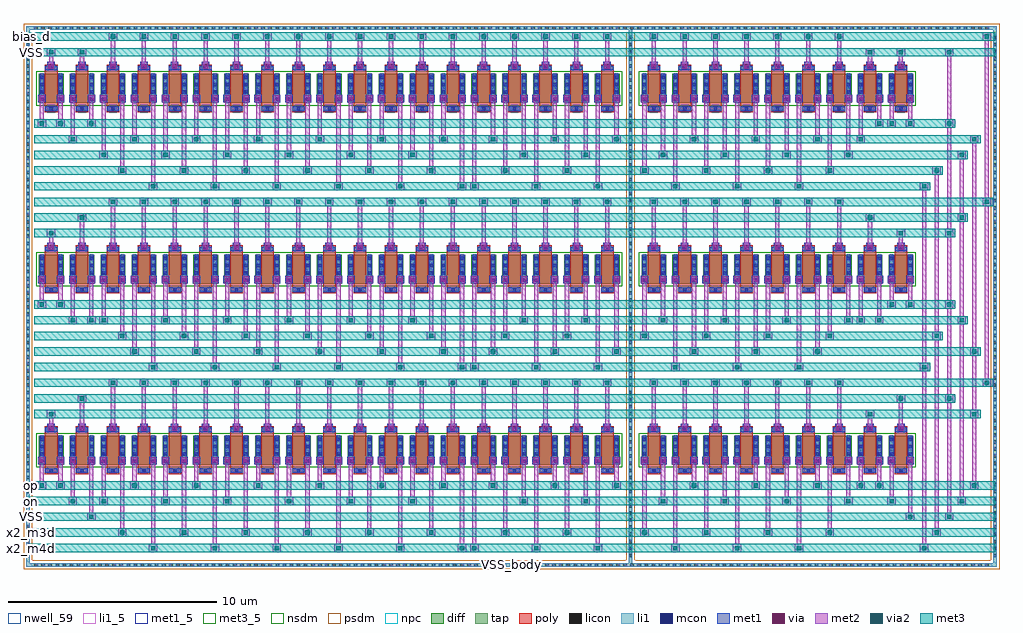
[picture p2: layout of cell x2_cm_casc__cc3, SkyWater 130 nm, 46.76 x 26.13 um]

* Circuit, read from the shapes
.subckt x2_cm_casc__cc3 VSS VSS_body bias_d on op x2_m3d x2_m4d
XM1 op op op VSS_body sky130_fd_pr__nfet_01v8 w=1.4 l=0.6 m=2
XM2 VSS VSS VSS VSS_body sky130_fd_pr__nfet_01v8 w=1.4 l=0.6 m=4
XM3 VSS VSS on VSS_body sky130_fd_pr__nfet_01v8 w=1.4 l=0.6 m=2
XM4 on on on VSS_body sky130_fd_pr__nfet_01v8 w=1.4 l=0.6 m=2
XM5 VSS VSS op VSS_body sky130_fd_pr__nfet_01v8 w=1.4 l=0.6 m=2
XM6 x2_m3d bias_d on VSS_body sky130_fd_pr__nfet_01v8 w=1.4 l=0.6 m=36
XM7 x2_m4d bias_d op VSS_body sky130_fd_pr__nfet_01v8 w=1.4 l=0.6 m=36
.ends

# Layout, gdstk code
from math import pi, radians
import gdstk
lib = gdstk.Library(unit=1e-6, precision=1e-09)
def R(c, l, rs):  # rectangles x0, y0, x1, y1
    for r in rs: c.add(gdstk.rectangle(r[:2], r[2:], *l))
def A(c, l, x, y, w, h, nx, ny, dx, dy):  # array of equal rectangles
    R(c, l, [(x+i*dx, y+j*dy, x+i*dx+w, y+j*dy+h) for i in range(nx) for j in range(ny)])
nwell_59 = (64, 59)
diff = (65, 20)
tap = (65, 44)
poly = (66, 20)
licon = (66, 44)
li1_5 = (67, 5)
li1 = (67, 20)
mcon = (67, 44)
met1_5 = (68, 5)
met1 = (68, 20)
via = (68, 44)
met2 = (69, 20)
via2 = (69, 44)
met3_5 = (70, 5)
met3 = (70, 20)
nsdm = (93, 44)
psdm = (94, 20)
npc = (95, 20)

sky130_fd_pr__nfet_01v8_ = lib.new_cell('sky130_fd_pr__nfet_01v8_KCM6UP')
R(sky130_fd_pr__nfet_01v8_, diff, [(-0.59,-0.7,0.59,0.7)])
R(sky130_fd_pr__nfet_01v8_, poly, [(-0.3,-1.14,0.3,1.14)])
A(sky130_fd_pr__nfet_01v8_, licon, -0.53, -0.595, 0.17, 0.17, 1, 4, 0, 0.34)
A(sky130_fd_pr__nfet_01v8_, licon, 0.36, -0.595, 0.17, 0.17, 1, 4, 0, 0.34)
R(sky130_fd_pr__nfet_01v8_, licon, [(-0.085,-1.06,0.085,-0.89), (-0.085,0.89,0.085,1.06)])
R(sky130_fd_pr__nfet_01v8_, li1, [(-0.3,-1.06,0.3,-0.89), (-0.53,-0.72,-0.36,0.72), (0.36,-0.72,0.53,0.72), (-0.3,0.89,0.3,1.06)])
A(sky130_fd_pr__nfet_01v8_, mcon, -0.53, -0.625, 0.17, 0.17, 1, 4, 0, 0.36)
A(sky130_fd_pr__nfet_01v8_, mcon, 0.36, -0.625, 0.17, 0.17, 1, 4, 0, 0.36)
R(sky130_fd_pr__nfet_01v8_, mcon, [(-0.085,-1.06,0.085,-0.89), (-0.085,0.89,0.085,1.06)])
R(sky130_fd_pr__nfet_01v8_, met1, [(-0.28,-1.09,0.28,-0.86), (-0.56,-0.7,-0.33,0.7), (0.33,-0.7,0.56,0.7), (-0.28,0.86,0.28,1.09)])
R(sky130_fd_pr__nfet_01v8_, nsdm, [(-0.715,-0.825,0.715,0.825)])
R(sky130_fd_pr__nfet_01v8_, npc, [(-0.185,-1.16,0.185,-0.79), (-0.185,0.79,0.185,1.16)])
sky130_fd_pr__nfet_01v8_.add(gdstk.Label('D', (-0.445,0), layer=67, texttype=5))
sky130_fd_pr__nfet_01v8_.add(gdstk.Label('S', (0.445,0), layer=67, texttype=5))
sky130_fd_pr__nfet_01v8_.add(gdstk.Label('G', (0,0.975), layer=67, texttype=5))

nfet_01v8_w1p4_l0p6_m2__ = lib.new_cell('nfet_01v8_W1p4_L0p6_m2__nf1_gboth_sdfull_ng')
R(nfet_01v8_w1p4_l0p6_m2__, nwell_59, [(0.05,1.09,0.15,1.19)])
R(nfet_01v8_w1p4_l0p6_m2__, met1_5, [(0.03,1.14,0.26,1.34), (0.92,1.14,1.15,1.34), (0.31,2,0.87,2.23)])
R(nfet_01v8_w1p4_l0p6_m2__, met1, [(0.03,1.14,0.26,1.34), (0.92,1.14,1.15,1.34), (0.31,2,0.87,2.23)])
nfet_01v8_w1p4_l0p6_m2__.add(gdstk.Reference(sky130_fd_pr__nfet_01v8_, (0.59,1.14)))
nfet_01v8_w1p4_l0p6_m2__.add(gdstk.Label('D', (0.145,1.24), layer=68, texttype=5))
nfet_01v8_w1p4_l0p6_m2__.add(gdstk.Label('S', (1.035,1.24), layer=68, texttype=5))
nfet_01v8_w1p4_l0p6_m2__.add(gdstk.Label('G', (0.59,2.115), layer=68, texttype=5))
nfet_01v8_w1p4_l0p6_m2__.add(gdstk.Label('B', (0.1,1.14), layer=64, texttype=59))

nfet_01v8_w1p4_l0p6_m36_ = lib.new_cell('nfet_01v8_W1p4_L0p6_m36__nf1_gboth_sdfull_ng')
R(nfet_01v8_w1p4_l0p6_m36_, nwell_59, [(0.05,1.09,0.15,1.19)])
R(nfet_01v8_w1p4_l0p6_m36_, met1_5, [(0.03,1.14,0.26,1.34), (0.92,1.14,1.15,1.34), (0.31,2,0.87,2.23)])
R(nfet_01v8_w1p4_l0p6_m36_, met1, [(0.03,1.14,0.26,1.34), (0.92,1.14,1.15,1.34), (0.31,2,0.87,2.23)])
nfet_01v8_w1p4_l0p6_m36_.add(gdstk.Reference(sky130_fd_pr__nfet_01v8_, (0.59,1.14)))
nfet_01v8_w1p4_l0p6_m36_.add(gdstk.Label('D', (0.145,1.24), layer=68, texttype=5))
nfet_01v8_w1p4_l0p6_m36_.add(gdstk.Label('S', (1.035,1.24), layer=68, texttype=5))
nfet_01v8_w1p4_l0p6_m36_.add(gdstk.Label('G', (0.59,2.115), layer=68, texttype=5))
nfet_01v8_w1p4_l0p6_m36_.add(gdstk.Label('B', (0.1,1.14), layer=64, texttype=59))

x2_cm_casc__cc3 = lib.new_cell('x2_cm_casc__cc3')
R(x2_cm_casc__cc3, tap, [(-0.485,-4.435,46.025,-4.265), (-0.485,-4.265,-0.315,21.275), (28.385,-4.265,28.555,21.275), (45.855,-4.265,46.025,21.275), (-0.485,21.275,46.025,21.445)])
A(x2_cm_casc__cc3, licon, -0.095, -4.435, 0.17, 0.17, 135, 2, 0.34, 25.71)
A(x2_cm_casc__cc3, licon, -0.485, -3.99, 0.17, 0.17, 1, 74, 0, 0.34)
A(x2_cm_casc__cc3, licon, 28.385, -3.99, 0.17, 0.17, 1, 74, 0, 0.34)
A(x2_cm_casc__cc3, licon, 45.855, -3.99, 0.17, 0.17, 1, 74, 0, 0.34)
R(x2_cm_casc__cc3, li1_5, [(22.72,-4.4,22.82,-4.3)])
R(x2_cm_casc__cc3, li1, [(-0.485,-4.435,46.025,-4.265), (-0.485,-4.265,-0.315,21.275), (28.385,-4.265,28.555,21.275), (45.855,-4.265,46.025,21.275), (-0.485,21.275,46.025,21.445)])
A(x2_cm_casc__cc3, met1, 0.09, 0.46, 0.36, 0.36, 1, 3, 0, 8.67)
A(x2_cm_casc__cc3, met1, 0.98, 0.46, 0.36, 0.36, 1, 3, 0, 8.67)
A(x2_cm_casc__cc3, met1, 1.57, 0.46, 0.36, 0.36, 1, 3, 0, 8.67)
A(x2_cm_casc__cc3, met1, 2.46, 0.46, 0.36, 0.36, 1, 3, 0, 8.67)
A(x2_cm_casc__cc3, met1, 3.05, 0.46, 0.36, 0.36, 1, 3, 0, 8.67)
A(x2_cm_casc__cc3, met1, 3.94, 0.46, 0.36, 0.36, 1, 3, 0, 8.67)
A(x2_cm_casc__cc3, met1, 4.53, 0.46, 0.36, 0.36, 1, 3, 0, 8.67)
A(x2_cm_casc__cc3, met1, 5.42, 0.46, 0.36, 0.36, 1, 3, 0, 8.67)
A(x2_cm_casc__cc3, met1, 6.01, 0.46, 0.36, 0.36, 1, 3, 0, 8.67)
A(x2_cm_casc__cc3, met1, 6.9, 0.46, 0.36, 0.36, 1, 3, 0, 8.67)
A(x2_cm_casc__cc3, met1, 7.49, 0.46, 0.36, 0.36, 1, 3, 0, 8.67)
A(x2_cm_casc__cc3, met1, 8.38, 0.46, 0.36, 0.36, 1, 3, 0, 8.67)
A(x2_cm_casc__cc3, met1, 8.97, 0.46, 0.36, 0.36, 1, 3, 0, 8.67)
A(x2_cm_casc__cc3, met1, 9.86, 0.46, 0.36, 0.36, 1, 3, 0, 8.67)
A(x2_cm_casc__cc3, met1, 10.45, 0.46, 0.36, 0.36, 1, 3, 0, 8.67)
A(x2_cm_casc__cc3, met1, 11.34, 0.46, 0.36, 0.36, 1, 3, 0, 8.67)
A(x2_cm_casc__cc3, met1, 11.93, 0.46, 0.36, 0.36, 1, 3, 0, 8.67)
A(x2_cm_casc__cc3, met1, 12.82, 0.46, 0.36, 0.36, 1, 3, 0, 8.67)
A(x2_cm_casc__cc3, met1, 13.41, 0.46, 0.36, 0.36, 1, 3, 0, 8.67)
A(x2_cm_casc__cc3, met1, 14.3, 0.46, 0.36, 0.36, 1, 3, 0, 8.67)
A(x2_cm_casc__cc3, met1, 14.89, 0.46, 0.36, 0.36, 1, 3, 0, 8.67)
A(x2_cm_casc__cc3, met1, 15.78, 0.46, 0.36, 0.36, 1, 3, 0, 8.67)
A(x2_cm_casc__cc3, met1, 16.37, 0.46, 0.36, 0.36, 1, 3, 0, 8.67)
A(x2_cm_casc__cc3, met1, 17.26, 0.46, 0.36, 0.36, 1, 3, 0, 8.67)
A(x2_cm_casc__cc3, met1, 17.85, 0.46, 0.36, 0.36, 1, 3, 0, 8.67)
A(x2_cm_casc__cc3, met1, 18.74, 0.46, 0.36, 0.36, 1, 3, 0, 8.67)
A(x2_cm_casc__cc3, met1, 19.33, 0.46, 0.36, 0.36, 1, 3, 0, 8.67)
A(x2_cm_casc__cc3, met1, 20.22, 0.46, 0.36, 0.36, 1, 3, 0, 8.67)
A(x2_cm_casc__cc3, met1, 20.81, 0.46, 0.36, 0.36, 1, 3, 0, 8.67)
A(x2_cm_casc__cc3, met1, 21.7, 0.46, 0.36, 0.36, 1, 3, 0, 8.67)
A(x2_cm_casc__cc3, met1, 22.29, 0.46, 0.36, 0.36, 1, 3, 0, 8.67)
A(x2_cm_casc__cc3, met1, 23.18, 0.46, 0.36, 0.36, 1, 3, 0, 8.67)
A(x2_cm_casc__cc3, met1, 23.77, 0.46, 0.36, 0.36, 1, 3, 0, 8.67)
A(x2_cm_casc__cc3, met1, 24.66, 0.46, 0.36, 0.36, 1, 3, 0, 8.67)
A(x2_cm_casc__cc3, met1, 25.25, 0.46, 0.36, 0.36, 1, 3, 0, 8.67)
A(x2_cm_casc__cc3, met1, 26.14, 0.46, 0.36, 0.36, 1, 3, 0, 8.67)
A(x2_cm_casc__cc3, met1, 26.73, 0.46, 0.36, 0.36, 1, 3, 0, 8.67)
A(x2_cm_casc__cc3, met1, 27.62, 0.46, 0.36, 0.36, 1, 3, 0, 8.67)
A(x2_cm_casc__cc3, met1, 28.96, 0.46, 0.36, 0.36, 1, 3, 0, 8.67)
A(x2_cm_casc__cc3, met1, 29.85, 0.46, 0.36, 0.36, 1, 3, 0, 8.67)
A(x2_cm_casc__cc3, met1, 30.44, 0.46, 0.36, 0.36, 1, 3, 0, 8.67)
A(x2_cm_casc__cc3, met1, 31.33, 0.46, 0.36, 0.36, 1, 3, 0, 8.67)
A(x2_cm_casc__cc3, met1, 31.92, 0.46, 0.36, 0.36, 1, 3, 0, 8.67)
A(x2_cm_casc__cc3, met1, 32.81, 0.46, 0.36, 0.36, 1, 3, 0, 8.67)
A(x2_cm_casc__cc3, met1, 33.4, 0.46, 0.36, 0.36, 1, 3, 0, 8.67)
A(x2_cm_casc__cc3, met1, 34.29, 0.46, 0.36, 0.36, 1, 3, 0, 8.67)
A(x2_cm_casc__cc3, met1, 34.88, 0.46, 0.36, 0.36, 1, 3, 0, 8.67)
A(x2_cm_casc__cc3, met1, 35.77, 0.46, 0.36, 0.36, 1, 3, 0, 8.67)
A(x2_cm_casc__cc3, met1, 36.36, 0.46, 0.36, 0.36, 1, 3, 0, 8.67)
A(x2_cm_casc__cc3, met1, 37.25, 0.46, 0.36, 0.36, 1, 3, 0, 8.67)
A(x2_cm_casc__cc3, met1, 37.84, 0.46, 0.36, 0.36, 1, 3, 0, 8.67)
A(x2_cm_casc__cc3, met1, 38.73, 0.46, 0.36, 0.36, 1, 3, 0, 8.67)
A(x2_cm_casc__cc3, met1, 39.32, 0.46, 0.36, 0.36, 1, 3, 0, 8.67)
A(x2_cm_casc__cc3, met1, 40.21, 0.46, 0.36, 0.36, 1, 3, 0, 8.67)
A(x2_cm_casc__cc3, met1, 40.8, 0.46, 0.36, 0.36, 1, 3, 0, 8.67)
A(x2_cm_casc__cc3, met1, 41.69, 0.46, 0.36, 0.36, 1, 3, 0, 8.67)
A(x2_cm_casc__cc3, met1, 0.535, 2.05, 0.36, 0.36, 19, 3, 1.48, 8.67)
A(x2_cm_casc__cc3, met1, 29.405, 2.05, 0.36, 0.36, 9, 3, 1.48, 8.67)
A(x2_cm_casc__cc3, via, 0.195, 0.565, 0.15, 0.15, 1, 3, 0, 8.67)
A(x2_cm_casc__cc3, via, 1.085, 0.565, 0.15, 0.15, 1, 3, 0, 8.67)
A(x2_cm_casc__cc3, via, 1.675, 0.565, 0.15, 0.15, 1, 3, 0, 8.67)
A(x2_cm_casc__cc3, via, 2.565, 0.565, 0.15, 0.15, 1, 3, 0, 8.67)
A(x2_cm_casc__cc3, via, 3.155, 0.565, 0.15, 0.15, 1, 3, 0, 8.67)
A(x2_cm_casc__cc3, via, 4.045, 0.565, 0.15, 0.15, 1, 3, 0, 8.67)
A(x2_cm_casc__cc3, via, 4.635, 0.565, 0.15, 0.15, 1, 3, 0, 8.67)
A(x2_cm_casc__cc3, via, 5.525, 0.565, 0.15, 0.15, 1, 3, 0, 8.67)
A(x2_cm_casc__cc3, via, 6.115, 0.565, 0.15, 0.15, 1, 3, 0, 8.67)
A(x2_cm_casc__cc3, via, 7.005, 0.565, 0.15, 0.15, 1, 3, 0, 8.67)
A(x2_cm_casc__cc3, via, 7.595, 0.565, 0.15, 0.15, 1, 3, 0, 8.67)
A(x2_cm_casc__cc3, via, 8.485, 0.565, 0.15, 0.15, 1, 3, 0, 8.67)
A(x2_cm_casc__cc3, via, 9.075, 0.565, 0.15, 0.15, 1, 3, 0, 8.67)
A(x2_cm_casc__cc3, via, 9.965, 0.565, 0.15, 0.15, 1, 3, 0, 8.67)
A(x2_cm_casc__cc3, via, 10.555, 0.565, 0.15, 0.15, 1, 3, 0, 8.67)
A(x2_cm_casc__cc3, via, 11.445, 0.565, 0.15, 0.15, 1, 3, 0, 8.67)
A(x2_cm_casc__cc3, via, 12.035, 0.565, 0.15, 0.15, 1, 3, 0, 8.67)
A(x2_cm_casc__cc3, via, 12.925, 0.565, 0.15, 0.15, 1, 3, 0, 8.67)
A(x2_cm_casc__cc3, via, 13.515, 0.565, 0.15, 0.15, 1, 3, 0, 8.67)
A(x2_cm_casc__cc3, via, 14.405, 0.565, 0.15, 0.15, 1, 3, 0, 8.67)
A(x2_cm_casc__cc3, via, 14.995, 0.565, 0.15, 0.15, 1, 3, 0, 8.67)
A(x2_cm_casc__cc3, via, 15.885, 0.565, 0.15, 0.15, 1, 3, 0, 8.67)
A(x2_cm_casc__cc3, via, 16.475, 0.565, 0.15, 0.15, 1, 3, 0, 8.67)
A(x2_cm_casc__cc3, via, 17.365, 0.565, 0.15, 0.15, 1, 3, 0, 8.67)
A(x2_cm_casc__cc3, via, 17.955, 0.565, 0.15, 0.15, 1, 3, 0, 8.67)
A(x2_cm_casc__cc3, via, 18.845, 0.565, 0.15, 0.15, 1, 3, 0, 8.67)
A(x2_cm_casc__cc3, via, 19.435, 0.565, 0.15, 0.15, 1, 3, 0, 8.67)
A(x2_cm_casc__cc3, via, 20.325, 0.565, 0.15, 0.15, 1, 3, 0, 8.67)
A(x2_cm_casc__cc3, via, 20.915, 0.565, 0.15, 0.15, 1, 3, 0, 8.67)
A(x2_cm_casc__cc3, via, 21.805, 0.565, 0.15, 0.15, 1, 3, 0, 8.67)
A(x2_cm_casc__cc3, via, 22.395, 0.565, 0.15, 0.15, 1, 3, 0, 8.67)
A(x2_cm_casc__cc3, via, 23.285, 0.565, 0.15, 0.15, 1, 3, 0, 8.67)
A(x2_cm_casc__cc3, via, 23.875, 0.565, 0.15, 0.15, 1, 3, 0, 8.67)
A(x2_cm_casc__cc3, via, 24.765, 0.565, 0.15, 0.15, 1, 3, 0, 8.67)
A(x2_cm_casc__cc3, via, 25.355, 0.565, 0.15, 0.15, 1, 3, 0, 8.67)
A(x2_cm_casc__cc3, via, 26.245, 0.565, 0.15, 0.15, 1, 3, 0, 8.67)
A(x2_cm_casc__cc3, via, 26.835, 0.565, 0.15, 0.15, 1, 3, 0, 8.67)
A(x2_cm_casc__cc3, via, 27.725, 0.565, 0.15, 0.15, 1, 3, 0, 8.67)
A(x2_cm_casc__cc3, via, 29.065, 0.565, 0.15, 0.15, 1, 3, 0, 8.67)
A(x2_cm_casc__cc3, via, 29.955, 0.565, 0.15, 0.15, 1, 3, 0, 8.67)
A(x2_cm_casc__cc3, via, 30.545, 0.565, 0.15, 0.15, 1, 3, 0, 8.67)
A(x2_cm_casc__cc3, via, 31.435, 0.565, 0.15, 0.15, 1, 3, 0, 8.67)
A(x2_cm_casc__cc3, via, 32.025, 0.565, 0.15, 0.15, 1, 3, 0, 8.67)
A(x2_cm_casc__cc3, via, 32.915, 0.565, 0.15, 0.15, 1, 3, 0, 8.67)
A(x2_cm_casc__cc3, via, 33.505, 0.565, 0.15, 0.15, 1, 3, 0, 8.67)
A(x2_cm_casc__cc3, via, 34.395, 0.565, 0.15, 0.15, 1, 3, 0, 8.67)
A(x2_cm_casc__cc3, via, 34.985, 0.565, 0.15, 0.15, 1, 3, 0, 8.67)
A(x2_cm_casc__cc3, via, 35.875, 0.565, 0.15, 0.15, 1, 3, 0, 8.67)
A(x2_cm_casc__cc3, via, 36.465, 0.565, 0.15, 0.15, 1, 3, 0, 8.67)
A(x2_cm_casc__cc3, via, 37.355, 0.565, 0.15, 0.15, 1, 3, 0, 8.67)
A(x2_cm_casc__cc3, via, 37.945, 0.565, 0.15, 0.15, 1, 3, 0, 8.67)
A(x2_cm_casc__cc3, via, 38.835, 0.565, 0.15, 0.15, 1, 3, 0, 8.67)
A(x2_cm_casc__cc3, via, 39.425, 0.565, 0.15, 0.15, 1, 3, 0, 8.67)
A(x2_cm_casc__cc3, via, 40.315, 0.565, 0.15, 0.15, 1, 3, 0, 8.67)
A(x2_cm_casc__cc3, via, 40.905, 0.565, 0.15, 0.15, 1, 3, 0, 8.67)
A(x2_cm_casc__cc3, via, 41.795, 0.565, 0.15, 0.15, 1, 3, 0, 8.67)
A(x2_cm_casc__cc3, via, 0.64, 2.155, 0.15, 0.15, 19, 3, 1.48, 8.67)
A(x2_cm_casc__cc3, via, 29.51, 2.155, 0.15, 0.15, 9, 3, 1.48, 8.67)
A(x2_cm_casc__cc3, met2, 5.4, -3.75, 0.4, 0.4, 6, 3, 2.96, 8.67)
A(x2_cm_casc__cc3, met2, 20.79, -3.75, 0.4, 0.4, 3, 3, 2.96, 8.67)
A(x2_cm_casc__cc3, met2, 30.42, -3.75, 0.4, 0.4, 3, 3, 2.96, 8.67)
A(x2_cm_casc__cc3, met2, 42.34, -3.75, 0.4, 0.4, 1, 3, 0, 8.67)
A(x2_cm_casc__cc3, met2, 5.5, -3.35, 0.2, 3.83, 6, 3, 2.96, 8.67)
A(x2_cm_casc__cc3, met2, 20.89, -3.35, 0.2, 3.83, 3, 3, 2.96, 8.67)
A(x2_cm_casc__cc3, met2, 30.52, -3.35, 0.2, 3.83, 3, 3, 2.96, 8.67)
A(x2_cm_casc__cc3, met2, 3.92, -3, 0.4, 0.4, 6, 2, 2.96, 9.42)
A(x2_cm_casc__cc3, met2, 28.94, -3, 0.4, 0.4, 4, 2, 2.96, 9.42)
A(x2_cm_casc__cc3, met2, 4.02, -2.6, 0.2, 3.08, 6, 2, 2.96, 17.34)
A(x2_cm_casc__cc3, met2, 29.04, -2.6, 0.2, 3.08, 4, 2, 2.96, 17.34)
A(x2_cm_casc__cc3, met2, 2.44, -2.25, 0.4, 0.4, 1, 3, 0, 9.42)
A(x2_cm_casc__cc3, met2, 3.03, -1.5, 0.4, 0.4, 6, 2, 2.96, 8.67)
A(x2_cm_casc__cc3, met2, 29.83, -1.5, 0.4, 0.4, 4, 2, 2.96, 8.67)
A(x2_cm_casc__cc3, met2, 3.13, -1.1, 0.2, 1.58, 6, 2, 2.96, 8.67)
A(x2_cm_casc__cc3, met2, 29.93, -1.1, 0.2, 1.58, 4, 2, 2.96, 8.67)
A(x2_cm_casc__cc3, met2, 0.07, -0.75, 0.4, 0.4, 1, 3, 0, 8.67)
A(x2_cm_casc__cc3, met2, 0.96, -0.75, 0.4, 0.4, 1, 3, 0, 8.67)
A(x2_cm_casc__cc3, met2, 4.51, -0.75, 0.4, 0.4, 6, 2, 2.96, 6.42)
A(x2_cm_casc__cc3, met2, 21.68, -0.75, 0.4, 0.4, 3, 2, 2.96, 6.42)
A(x2_cm_casc__cc3, met2, 31.31, -0.75, 0.4, 0.4, 3, 2, 2.96, 6.42)
A(x2_cm_casc__cc3, met2, 0.17, -0.35, 0.2, 0.83, 1, 3, 0, 8.67)
A(x2_cm_casc__cc3, met2, 1.06, -0.35, 0.2, 0.83, 1, 3, 0, 8.67)
A(x2_cm_casc__cc3, met2, 4.61, -0.35, 0.2, 0.83, 6, 1, 2.96, 0)
A(x2_cm_casc__cc3, met2, 21.78, -0.35, 0.2, 0.83, 3, 1, 2.96, 0)
A(x2_cm_casc__cc3, met2, 31.41, -0.35, 0.2, 0.83, 3, 1, 2.96, 0)
A(x2_cm_casc__cc3, met2, 0.14, 0.48, 0.26, 0.32, 1, 3, 0, 8.67)
A(x2_cm_casc__cc3, met2, 1.03, 0.48, 0.26, 0.32, 1, 3, 0, 8.67)
A(x2_cm_casc__cc3, met2, 1.62, 0.48, 0.26, 0.32, 1, 3, 0, 8.67)
A(x2_cm_casc__cc3, met2, 2.51, 0.48, 0.26, 0.32, 1, 3, 0, 8.67)
A(x2_cm_casc__cc3, met2, 3.1, 0.48, 0.26, 0.32, 1, 3, 0, 8.67)
A(x2_cm_casc__cc3, met2, 3.99, 0.48, 0.26, 0.32, 1, 3, 0, 8.67)
A(x2_cm_casc__cc3, met2, 4.58, 0.48, 0.26, 0.32, 1, 3, 0, 8.67)
A(x2_cm_casc__cc3, met2, 5.47, 0.48, 0.26, 0.32, 1, 3, 0, 8.67)
A(x2_cm_casc__cc3, met2, 6.06, 0.48, 0.26, 0.32, 1, 3, 0, 8.67)
A(x2_cm_casc__cc3, met2, 6.95, 0.48, 0.26, 0.32, 1, 3, 0, 8.67)
A(x2_cm_casc__cc3, met2, 7.54, 0.48, 0.26, 0.32, 1, 3, 0, 8.67)
A(x2_cm_casc__cc3, met2, 8.43, 0.48, 0.26, 0.32, 1, 3, 0, 8.67)
A(x2_cm_casc__cc3, met2, 9.02, 0.48, 0.26, 0.32, 1, 3, 0, 8.67)
A(x2_cm_casc__cc3, met2, 9.91, 0.48, 0.26, 0.32, 1, 3, 0, 8.67)
A(x2_cm_casc__cc3, met2, 10.5, 0.48, 0.26, 0.32, 1, 3, 0, 8.67)
A(x2_cm_casc__cc3, met2, 11.39, 0.48, 0.26, 0.32, 1, 3, 0, 8.67)
A(x2_cm_casc__cc3, met2, 11.98, 0.48, 0.26, 0.32, 1, 3, 0, 8.67)
A(x2_cm_casc__cc3, met2, 12.87, 0.48, 0.26, 0.32, 1, 3, 0, 8.67)
A(x2_cm_casc__cc3, met2, 13.46, 0.48, 0.26, 0.32, 1, 3, 0, 8.67)
A(x2_cm_casc__cc3, met2, 14.35, 0.48, 0.26, 0.32, 1, 3, 0, 8.67)
A(x2_cm_casc__cc3, met2, 14.94, 0.48, 0.26, 0.32, 1, 3, 0, 8.67)
A(x2_cm_casc__cc3, met2, 15.83, 0.48, 0.26, 0.32, 1, 3, 0, 8.67)
A(x2_cm_casc__cc3, met2, 16.42, 0.48, 0.26, 0.32, 1, 3, 0, 8.67)
A(x2_cm_casc__cc3, met2, 17.31, 0.48, 0.26, 0.32, 1, 3, 0, 8.67)
A(x2_cm_casc__cc3, met2, 17.9, 0.48, 0.26, 0.32, 1, 3, 0, 8.67)
A(x2_cm_casc__cc3, met2, 18.79, 0.48, 0.26, 0.32, 1, 3, 0, 8.67)
A(x2_cm_casc__cc3, met2, 19.38, 0.48, 0.26, 0.32, 1, 3, 0, 8.67)
A(x2_cm_casc__cc3, met2, 20.27, 0.48, 0.26, 0.32, 1, 3, 0, 8.67)
A(x2_cm_casc__cc3, met2, 20.86, 0.48, 0.26, 0.32, 1, 3, 0, 8.67)
A(x2_cm_casc__cc3, met2, 21.75, 0.48, 0.26, 0.32, 1, 3, 0, 8.67)
A(x2_cm_casc__cc3, met2, 22.34, 0.48, 0.26, 0.32, 1, 3, 0, 8.67)
A(x2_cm_casc__cc3, met2, 23.23, 0.48, 0.26, 0.32, 1, 3, 0, 8.67)
A(x2_cm_casc__cc3, met2, 23.82, 0.48, 0.26, 0.32, 1, 3, 0, 8.67)
A(x2_cm_casc__cc3, met2, 24.71, 0.48, 0.26, 0.32, 1, 3, 0, 8.67)
A(x2_cm_casc__cc3, met2, 25.3, 0.48, 0.26, 0.32, 1, 3, 0, 8.67)
A(x2_cm_casc__cc3, met2, 26.19, 0.48, 0.26, 0.32, 1, 3, 0, 8.67)
A(x2_cm_casc__cc3, met2, 26.78, 0.48, 0.26, 0.32, 1, 3, 0, 8.67)
A(x2_cm_casc__cc3, met2, 27.67, 0.48, 0.26, 0.32, 1, 3, 0, 8.67)
A(x2_cm_casc__cc3, met2, 29.01, 0.48, 0.26, 0.32, 1, 3, 0, 8.67)
A(x2_cm_casc__cc3, met2, 29.9, 0.48, 0.26, 0.32, 1, 3, 0, 8.67)
A(x2_cm_casc__cc3, met2, 30.49, 0.48, 0.26, 0.32, 1, 3, 0, 8.67)
A(x2_cm_casc__cc3, met2, 31.38, 0.48, 0.26, 0.32, 1, 3, 0, 8.67)
A(x2_cm_casc__cc3, met2, 31.97, 0.48, 0.26, 0.32, 1, 3, 0, 8.67)
A(x2_cm_casc__cc3, met2, 32.86, 0.48, 0.26, 0.32, 1, 3, 0, 8.67)
A(x2_cm_casc__cc3, met2, 33.45, 0.48, 0.26, 0.32, 1, 3, 0, 8.67)
A(x2_cm_casc__cc3, met2, 34.34, 0.48, 0.26, 0.32, 1, 3, 0, 8.67)
A(x2_cm_casc__cc3, met2, 34.93, 0.48, 0.26, 0.32, 1, 3, 0, 8.67)
A(x2_cm_casc__cc3, met2, 35.82, 0.48, 0.26, 0.32, 1, 3, 0, 8.67)
A(x2_cm_casc__cc3, met2, 36.41, 0.48, 0.26, 0.32, 1, 3, 0, 8.67)
A(x2_cm_casc__cc3, met2, 37.3, 0.48, 0.26, 0.32, 1, 3, 0, 8.67)
A(x2_cm_casc__cc3, met2, 37.89, 0.48, 0.26, 0.32, 1, 3, 0, 8.67)
A(x2_cm_casc__cc3, met2, 38.78, 0.48, 0.26, 0.32, 1, 3, 0, 8.67)
A(x2_cm_casc__cc3, met2, 39.37, 0.48, 0.26, 0.32, 1, 3, 0, 8.67)
A(x2_cm_casc__cc3, met2, 40.26, 0.48, 0.26, 0.32, 1, 3, 0, 8.67)
A(x2_cm_casc__cc3, met2, 40.85, 0.48, 0.26, 0.32, 1, 3, 0, 8.67)
A(x2_cm_casc__cc3, met2, 41.74, 0.48, 0.26, 0.32, 1, 3, 0, 8.67)
A(x2_cm_casc__cc3, met2, 0.585, 2.07, 0.26, 0.32, 19, 3, 1.48, 8.67)
A(x2_cm_casc__cc3, met2, 29.455, 2.07, 0.26, 0.32, 9, 3, 1.48, 8.67)
A(x2_cm_casc__cc3, met2, 0.615, 2.39, 0.2, 0.28, 1, 3, 0, 8.67)
A(x2_cm_casc__cc3, met2, 3.575, 2.39, 0.2, 1.78, 17, 2, 1.48, 8.67)
A(x2_cm_casc__cc3, met2, 29.485, 2.39, 0.2, 1.78, 7, 2, 1.48, 8.67)
A(x2_cm_casc__cc3, met2, 0.515, 2.67, 0.4, 0.4, 1, 3, 0, 8.67)
A(x2_cm_casc__cc3, met2, 3.475, 4.17, 0.4, 0.4, 17, 2, 1.48, 8.67)
A(x2_cm_casc__cc3, met2, 29.385, 4.17, 0.4, 0.4, 7, 2, 1.48, 8.67)
A(x2_cm_casc__cc3, met2, 4.61, 6.07, 0.2, 3.08, 6, 1, 2.96, 0)
A(x2_cm_casc__cc3, met2, 21.78, 6.07, 0.2, 3.08, 3, 1, 2.96, 0)
A(x2_cm_casc__cc3, met2, 31.41, 6.07, 0.2, 3.08, 3, 1, 2.96, 0)
A(x2_cm_casc__cc3, met2, 4.02, 6.82, 0.2, 2.33, 6, 1, 2.96, 0)
A(x2_cm_casc__cc3, met2, 29.04, 6.82, 0.2, 2.33, 4, 1, 2.96, 0)
A(x2_cm_casc__cc3, met2, 3.92, 14.34, 0.4, 0.4, 6, 1, 2.96, 0)
A(x2_cm_casc__cc3, met2, 28.94, 14.34, 0.4, 0.4, 4, 1, 2.96, 0)
A(x2_cm_casc__cc3, met2, 3.03, 15.09, 0.4, 0.4, 6, 1, 2.96, 0)
A(x2_cm_casc__cc3, met2, 29.83, 15.09, 0.4, 0.4, 4, 1, 2.96, 0)
A(x2_cm_casc__cc3, met2, 3.13, 15.49, 0.2, 2.33, 6, 1, 2.96, 0)
A(x2_cm_casc__cc3, met2, 29.93, 15.49, 0.2, 2.33, 4, 1, 2.96, 0)
A(x2_cm_casc__cc3, met2, 1.55, 15.84, 0.4, 0.4, 7, 1, 2.96, 0)
A(x2_cm_casc__cc3, met2, 21.68, 15.84, 0.4, 0.4, 3, 1, 2.96, 0)
A(x2_cm_casc__cc3, met2, 31.31, 15.84, 0.4, 0.4, 3, 1, 2.96, 0)
A(x2_cm_casc__cc3, met2, 1.65, 16.24, 0.2, 1.58, 7, 1, 2.96, 0)
A(x2_cm_casc__cc3, met2, 21.78, 16.24, 0.2, 1.58, 3, 1, 2.96, 0)
A(x2_cm_casc__cc3, met2, 31.41, 16.24, 0.2, 1.58, 3, 1, 2.96, 0)
A(x2_cm_casc__cc3, met2, 3.575, 19.73, 0.2, 1.03, 17, 1, 1.48, 0)
A(x2_cm_casc__cc3, met2, 29.485, 19.73, 0.2, 1.03, 7, 1, 1.48, 0)
A(x2_cm_casc__cc3, met2, 3.475, 20.76, 0.4, 0.4, 17, 1, 1.48, 0)
A(x2_cm_casc__cc3, met2, 29.385, 20.76, 0.4, 0.4, 7, 1, 1.48, 0)
R(x2_cm_casc__cc3, met2, [(42.44,-3.35,42.64,4.92), (22.27,-3,22.67,-2.6), (25.23,-3,25.63,-2.6), (42.94,-3,43.34,-2.6), (22.37,-2.6,22.57,0.48), (25.33,-2.6,25.53,0.48), (43.04,-2.6,43.24,6.42), (41.67,-2.25,42.07,-1.85), (43.54,-2.25,43.94,-1.85), (2.54,-1.85,2.74,0.48), (41.77,-1.85,41.97,0.48), (43.64,-1.85,43.84,3.42), (1.55,-1.5,1.95,-1.1), (23.16,-1.5,23.56,-1.1), (26.12,-1.5,26.52,-1.1), (40.78,-1.5,41.18,-1.1), (44.14,-1.5,44.54,-1.1), (1.65,-1.1,1.85,0.48), (23.26,-1.1,23.46,0.48), (26.22,-1.1,26.42,0.48), (40.88,-1.1,41.08,0.48), (44.24,-1.1,44.44,7.17), (39.3,-0.75,39.7,-0.35), (40.19,-0.75,40.59,-0.35), (44.74,-0.75,45.14,-0.35), (39.4,-0.35,39.6,0.48), (40.29,-0.35,40.49,0.48), (44.84,-0.35,45.04,2.67), (2.095,2.39,2.295,3.42), (39.845,2.39,40.045,2.67), (41.325,2.39,41.525,3.42), (39.745,2.67,40.145,3.07), (44.74,2.67,45.14,3.07), (44.84,3.07,45.04,5.67), (1.995,3.42,2.395,3.82), (41.225,3.42,41.625,3.82), (43.54,3.42,43.94,3.82), (43.64,3.82,43.84,7.92), (45.34,4.17,45.74,4.57), (45.44,4.57,45.64,12.84), (42.44,5.32,42.64,13.59), (44.74,5.67,45.14,6.07), (44.84,6.07,45.04,15.84), (22.27,6.42,22.67,6.82), (25.23,6.42,25.63,6.82), (42.94,6.42,43.34,6.82), (22.37,6.82,22.57,9.15), (25.33,6.82,25.53,9.15), (43.04,6.82,43.24,14.34), (1.55,7.17,1.95,7.57), (23.16,7.17,23.56,7.57), (26.12,7.17,26.52,7.57), (39.3,7.17,39.7,7.57), (40.19,7.17,40.59,7.57), (44.14,7.17,44.54,7.57), (1.65,7.57,1.85,9.15), (2.54,7.57,2.74,9.15), (23.26,7.57,23.46,9.15), (26.22,7.57,26.42,9.15), (39.4,7.57,39.6,9.15), (40.29,7.57,40.49,9.15), (44.24,7.57,44.44,12.09), (40.78,7.92,41.18,8.32), (41.67,7.92,42.07,8.32), (43.54,7.92,43.94,8.32), (40.88,8.32,41.08,9.15), (41.77,8.32,41.97,9.15), (43.64,8.32,43.84,11.34), (2.095,11.06,2.295,12.09), (39.845,11.06,40.045,12.09), (41.325,11.06,41.525,11.34), (41.225,11.34,41.625,11.74), (43.54,11.34,43.94,11.74), (43.64,11.74,43.84,16.59), (1.995,12.09,2.395,12.49), (39.745,12.09,40.145,12.49), (44.14,12.09,44.54,12.49), (44.24,12.49,44.44,15.09), (45.34,12.84,45.74,13.24), (45.44,13.24,45.64,20.76), (22.27,14.34,22.67,14.74), (25.23,14.34,25.63,14.74), (42.94,14.34,43.34,14.74), (22.37,14.74,22.57,17.82), (25.33,14.74,25.53,17.82), (23.16,15.09,23.56,15.49), (26.12,15.09,26.52,15.49), (44.14,15.09,44.54,15.49), (23.26,15.49,23.46,17.82), (26.22,15.49,26.42,17.82), (39.3,15.84,39.7,16.24), (44.74,15.84,45.14,16.24), (39.4,16.24,39.6,17.82), (40.19,16.59,40.59,16.99), (40.78,16.59,41.18,16.99), (41.67,16.59,42.07,16.99), (43.54,16.59,43.94,16.99), (2.54,16.99,2.74,17.82), (40.29,16.99,40.49,17.82), (40.88,16.99,41.08,17.82), (41.77,16.99,41.97,17.82), (43.64,16.99,43.84,20.01), (2.095,19.73,2.295,20.01), (39.845,19.73,40.045,20.01), (41.325,19.73,41.525,20.01), (1.995,20.01,2.395,20.41), (39.745,20.01,40.145,20.41), (41.225,20.01,41.625,20.41), (43.54,20.01,43.94,20.41), (45.34,20.76,45.74,21.16)])
A(x2_cm_casc__cc3, via2, 5.5, -3.65, 0.2, 0.2, 6, 3, 2.96, 8.67)
A(x2_cm_casc__cc3, via2, 20.89, -3.65, 0.2, 0.2, 3, 3, 2.96, 8.67)
A(x2_cm_casc__cc3, via2, 30.52, -3.65, 0.2, 0.2, 3, 3, 2.96, 8.67)
A(x2_cm_casc__cc3, via2, 42.44, -3.65, 0.2, 0.2, 1, 3, 0, 8.67)
A(x2_cm_casc__cc3, via2, 4.02, -2.9, 0.2, 0.2, 6, 2, 2.96, 9.42)
A(x2_cm_casc__cc3, via2, 29.04, -2.9, 0.2, 0.2, 4, 2, 2.96, 9.42)
A(x2_cm_casc__cc3, via2, 2.54, -2.15, 0.2, 0.2, 1, 3, 0, 9.42)
A(x2_cm_casc__cc3, via2, 3.13, -1.4, 0.2, 0.2, 6, 2, 2.96, 8.67)
A(x2_cm_casc__cc3, via2, 29.93, -1.4, 0.2, 0.2, 4, 2, 2.96, 8.67)
A(x2_cm_casc__cc3, via2, 0.17, -0.65, 0.2, 0.2, 1, 3, 0, 8.67)
A(x2_cm_casc__cc3, via2, 1.06, -0.65, 0.2, 0.2, 1, 3, 0, 8.67)
A(x2_cm_casc__cc3, via2, 4.61, -0.65, 0.2, 0.2, 6, 2, 2.96, 6.42)
A(x2_cm_casc__cc3, via2, 21.78, -0.65, 0.2, 0.2, 3, 2, 2.96, 6.42)
A(x2_cm_casc__cc3, via2, 31.41, -0.65, 0.2, 0.2, 3, 2, 2.96, 6.42)
A(x2_cm_casc__cc3, via2, 0.615, 2.77, 0.2, 0.2, 1, 3, 0, 8.67)
A(x2_cm_casc__cc3, via2, 3.575, 4.27, 0.2, 0.2, 17, 2, 1.48, 8.67)
A(x2_cm_casc__cc3, via2, 29.485, 4.27, 0.2, 0.2, 7, 2, 1.48, 8.67)
A(x2_cm_casc__cc3, via2, 4.02, 14.44, 0.2, 0.2, 6, 1, 2.96, 0)
A(x2_cm_casc__cc3, via2, 29.04, 14.44, 0.2, 0.2, 4, 1, 2.96, 0)
A(x2_cm_casc__cc3, via2, 3.13, 15.19, 0.2, 0.2, 6, 1, 2.96, 0)
A(x2_cm_casc__cc3, via2, 29.93, 15.19, 0.2, 0.2, 4, 1, 2.96, 0)
A(x2_cm_casc__cc3, via2, 1.65, 15.94, 0.2, 0.2, 7, 1, 2.96, 0)
A(x2_cm_casc__cc3, via2, 21.78, 15.94, 0.2, 0.2, 3, 1, 2.96, 0)
A(x2_cm_casc__cc3, via2, 31.41, 15.94, 0.2, 0.2, 3, 1, 2.96, 0)
A(x2_cm_casc__cc3, via2, 3.575, 20.86, 0.2, 0.2, 17, 1, 1.48, 0)
A(x2_cm_casc__cc3, via2, 29.485, 20.86, 0.2, 0.2, 7, 1, 1.48, 0)
R(x2_cm_casc__cc3, via2, [(22.37,-2.9,22.57,-2.7), (25.33,-2.9,25.53,-2.7), (43.04,-2.9,43.24,-2.7), (41.77,-2.15,41.97,-1.95), (43.64,-2.15,43.84,-1.95), (1.65,-1.4,1.85,-1.2), (23.26,-1.4,23.46,-1.2), (26.22,-1.4,26.42,-1.2), (40.88,-1.4,41.08,-1.2), (44.24,-1.4,44.44,-1.2), (39.4,-0.65,39.6,-0.45), (40.29,-0.65,40.49,-0.45), (44.84,-0.65,45.04,-0.45), (39.845,2.77,40.045,2.97), (44.84,2.77,45.04,2.97), (2.095,3.52,2.295,3.72), (41.325,3.52,41.525,3.72), (43.64,3.52,43.84,3.72), (45.44,4.27,45.64,4.47), (44.84,5.77,45.04,5.97), (22.37,6.52,22.57,6.72), (25.33,6.52,25.53,6.72), (43.04,6.52,43.24,6.72), (1.65,7.27,1.85,7.47), (23.26,7.27,23.46,7.47), (26.22,7.27,26.42,7.47), (39.4,7.27,39.6,7.47), (40.29,7.27,40.49,7.47), (44.24,7.27,44.44,7.47), (40.88,8.02,41.08,8.22), (41.77,8.02,41.97,8.22), (43.64,8.02,43.84,8.22), (41.325,11.44,41.525,11.64), (43.64,11.44,43.84,11.64), (2.095,12.19,2.295,12.39), (39.845,12.19,40.045,12.39), (44.24,12.19,44.44,12.39), (45.44,12.94,45.64,13.14), (22.37,14.44,22.57,14.64), (25.33,14.44,25.53,14.64), (43.04,14.44,43.24,14.64), (23.26,15.19,23.46,15.39), (26.22,15.19,26.42,15.39), (44.24,15.19,44.44,15.39), (39.4,15.94,39.6,16.14), (44.84,15.94,45.04,16.14), (40.29,16.69,40.49,16.89), (40.88,16.69,41.08,16.89), (41.77,16.69,41.97,16.89), (43.64,16.69,43.84,16.89), (2.095,20.11,2.295,20.31), (39.845,20.11,40.045,20.31), (41.325,20.11,41.525,20.31), (43.64,20.11,43.84,20.31), (45.44,20.86,45.64,21.06)])
A(x2_cm_casc__cc3, met3_5, -0.3, -3.6, 0.1, 0.1, 1, 5, 0, 0.75)
R(x2_cm_casc__cc3, met3_5, [(-0.3,20.16,-0.2,20.26), (-0.3,20.91,-0.2,21.01)])
A(x2_cm_casc__cc3, met3, -0.4, -3.75, 46.34, 0.4, 1, 5, 0, 0.75)
R(x2_cm_casc__cc3, met3, [(-0.1,2.67,45.24,3.07), (-0.1,3.42,44.04,3.82), (-0.1,4.17,45.84,4.57), (-0.1,4.92,42.84,5.32), (-0.1,5.67,45.24,6.07), (-0.1,6.42,43.44,6.82), (-0.1,7.17,44.64,7.57), (-0.1,7.92,44.04,8.32), (-0.1,11.34,44.04,11.74), (-0.1,12.09,44.64,12.49), (-0.1,12.84,45.84,13.24), (-0.1,13.59,42.84,13.99), (-0.1,14.34,43.44,14.74), (-0.1,15.09,44.64,15.49), (-0.1,15.84,45.24,16.24), (-0.1,16.59,44.04,16.99), (-0.4,20.01,45.94,20.41), (-0.4,20.76,45.94,21.16)])
A(x2_cm_casc__cc3, nsdm, 1.435, 0.315, 0.05, 1.65, 18, 3, 1.48, 8.67)
A(x2_cm_casc__cc3, nsdm, 30.305, 0.315, 0.05, 1.65, 8, 3, 1.48, 8.67)
R(x2_cm_casc__cc3, psdm, [(-0.61,-4.56,46.15,-4.14), (-0.61,-4.14,-0.19,21.15), (28.26,-4.14,28.68,21.15), (45.73,-4.14,46.15,21.15), (-0.61,21.15,46.15,21.57)])
x2_cm_casc__cc3.add(gdstk.Reference(nfet_01v8_w1p4_l0p6_m2__, (40.84,17.34)))
x2_cm_casc__cc3.add(gdstk.Reference(nfet_01v8_w1p4_l0p6_m2__, (39.36,17.34)))
x2_cm_casc__cc3.add(gdstk.Reference(nfet_01v8_w1p4_l0p6_m2__, (1.61,17.34)))
x2_cm_casc__cc3.add(gdstk.Reference(nfet_01v8_w1p4_l0p6_m2__, (0.13,17.34)))
x2_cm_casc__cc3.add(gdstk.Reference(nfet_01v8_w1p4_l0p6_m2__, (40.84,8.67)))
x2_cm_casc__cc3.add(gdstk.Reference(nfet_01v8_w1p4_l0p6_m2__, (39.36,8.67)))
x2_cm_casc__cc3.add(gdstk.Reference(nfet_01v8_w1p4_l0p6_m2__, (1.61,8.67)))
x2_cm_casc__cc3.add(gdstk.Reference(nfet_01v8_w1p4_l0p6_m2__, (0.13,8.67)))
x2_cm_casc__cc3.add(gdstk.Reference(nfet_01v8_w1p4_l0p6_m2__, (40.84,0)))
x2_cm_casc__cc3.add(gdstk.Reference(nfet_01v8_w1p4_l0p6_m2__, (39.36,0)))
x2_cm_casc__cc3.add(gdstk.Reference(nfet_01v8_w1p4_l0p6_m2__, (1.61,0)))
x2_cm_casc__cc3.add(gdstk.Reference(nfet_01v8_w1p4_l0p6_m2__, (0.13,0)))
x2_cm_casc__cc3.add(gdstk.Reference(nfet_01v8_w1p4_l0p6_m36_, (39.06,17.34), rotation=pi, x_reflection=True))
x2_cm_casc__cc3.add(gdstk.Reference(nfet_01v8_w1p4_l0p6_m36_, (37.58,17.34), rotation=pi, x_reflection=True))
x2_cm_casc__cc3.add(gdstk.Reference(nfet_01v8_w1p4_l0p6_m36_, (36.1,17.34), rotation=pi, x_reflection=True))
x2_cm_casc__cc3.add(gdstk.Reference(nfet_01v8_w1p4_l0p6_m36_, (34.62,17.34), rotation=pi, x_reflection=True))
x2_cm_casc__cc3.add(gdstk.Reference(nfet_01v8_w1p4_l0p6_m36_, (33.14,17.34), rotation=pi, x_reflection=True))
x2_cm_casc__cc3.add(gdstk.Reference(nfet_01v8_w1p4_l0p6_m36_, (31.66,17.34), rotation=pi, x_reflection=True))
x2_cm_casc__cc3.add(gdstk.Reference(nfet_01v8_w1p4_l0p6_m36_, (30.18,17.34), rotation=pi, x_reflection=True))
x2_cm_casc__cc3.add(gdstk.Reference(nfet_01v8_w1p4_l0p6_m36_, (27.95,17.34), rotation=pi, x_reflection=True))
x2_cm_casc__cc3.add(gdstk.Reference(nfet_01v8_w1p4_l0p6_m36_, (26.47,17.34), rotation=pi, x_reflection=True))
x2_cm_casc__cc3.add(gdstk.Reference(nfet_01v8_w1p4_l0p6_m36_, (24.99,17.34), rotation=pi, x_reflection=True))
x2_cm_casc__cc3.add(gdstk.Reference(nfet_01v8_w1p4_l0p6_m36_, (23.51,17.34), rotation=pi, x_reflection=True))
x2_cm_casc__cc3.add(gdstk.Reference(nfet_01v8_w1p4_l0p6_m36_, (22.03,17.34), rotation=pi, x_reflection=True))
x2_cm_casc__cc3.add(gdstk.Reference(nfet_01v8_w1p4_l0p6_m36_, (19.37,17.34)))
x2_cm_casc__cc3.add(gdstk.Reference(nfet_01v8_w1p4_l0p6_m36_, (17.89,17.34)))
x2_cm_casc__cc3.add(gdstk.Reference(nfet_01v8_w1p4_l0p6_m36_, (16.41,17.34)))
x2_cm_casc__cc3.add(gdstk.Reference(nfet_01v8_w1p4_l0p6_m36_, (14.93,17.34)))
x2_cm_casc__cc3.add(gdstk.Reference(nfet_01v8_w1p4_l0p6_m36_, (13.45,17.34)))
x2_cm_casc__cc3.add(gdstk.Reference(nfet_01v8_w1p4_l0p6_m36_, (11.97,17.34)))
x2_cm_casc__cc3.add(gdstk.Reference(nfet_01v8_w1p4_l0p6_m36_, (10.49,17.34)))
x2_cm_casc__cc3.add(gdstk.Reference(nfet_01v8_w1p4_l0p6_m36_, (9.01,17.34)))
x2_cm_casc__cc3.add(gdstk.Reference(nfet_01v8_w1p4_l0p6_m36_, (7.53,17.34)))
x2_cm_casc__cc3.add(gdstk.Reference(nfet_01v8_w1p4_l0p6_m36_, (6.05,17.34)))
x2_cm_casc__cc3.add(gdstk.Reference(nfet_01v8_w1p4_l0p6_m36_, (4.57,17.34)))
x2_cm_casc__cc3.add(gdstk.Reference(nfet_01v8_w1p4_l0p6_m36_, (3.09,17.34)))
x2_cm_casc__cc3.add(gdstk.Reference(nfet_01v8_w1p4_l0p6_m36_, (39.06,8.67), rotation=pi, x_reflection=True))
x2_cm_casc__cc3.add(gdstk.Reference(nfet_01v8_w1p4_l0p6_m36_, (37.58,8.67), rotation=pi, x_reflection=True))
x2_cm_casc__cc3.add(gdstk.Reference(nfet_01v8_w1p4_l0p6_m36_, (36.1,8.67), rotation=pi, x_reflection=True))
x2_cm_casc__cc3.add(gdstk.Reference(nfet_01v8_w1p4_l0p6_m36_, (34.62,8.67), rotation=pi, x_reflection=True))
x2_cm_casc__cc3.add(gdstk.Reference(nfet_01v8_w1p4_l0p6_m36_, (33.14,8.67), rotation=pi, x_reflection=True))
x2_cm_casc__cc3.add(gdstk.Reference(nfet_01v8_w1p4_l0p6_m36_, (31.66,8.67), rotation=pi, x_reflection=True))
x2_cm_casc__cc3.add(gdstk.Reference(nfet_01v8_w1p4_l0p6_m36_, (30.18,8.67), rotation=pi, x_reflection=True))
x2_cm_casc__cc3.add(gdstk.Reference(nfet_01v8_w1p4_l0p6_m36_, (27.95,8.67), rotation=pi, x_reflection=True))
x2_cm_casc__cc3.add(gdstk.Reference(nfet_01v8_w1p4_l0p6_m36_, (26.47,8.67), rotation=pi, x_reflection=True))
x2_cm_casc__cc3.add(gdstk.Reference(nfet_01v8_w1p4_l0p6_m36_, (24.99,8.67), rotation=pi, x_reflection=True))
x2_cm_casc__cc3.add(gdstk.Reference(nfet_01v8_w1p4_l0p6_m36_, (23.51,8.67), rotation=pi, x_reflection=True))
x2_cm_casc__cc3.add(gdstk.Reference(nfet_01v8_w1p4_l0p6_m36_, (22.03,8.67), rotation=pi, x_reflection=True))
x2_cm_casc__cc3.add(gdstk.Reference(nfet_01v8_w1p4_l0p6_m36_, (19.37,8.67)))
x2_cm_casc__cc3.add(gdstk.Reference(nfet_01v8_w1p4_l0p6_m36_, (17.89,8.67)))
x2_cm_casc__cc3.add(gdstk.Reference(nfet_01v8_w1p4_l0p6_m36_, (16.41,8.67)))
x2_cm_casc__cc3.add(gdstk.Reference(nfet_01v8_w1p4_l0p6_m36_, (14.93,8.67)))
x2_cm_casc__cc3.add(gdstk.Reference(nfet_01v8_w1p4_l0p6_m36_, (13.45,8.67)))
x2_cm_casc__cc3.add(gdstk.Reference(nfet_01v8_w1p4_l0p6_m36_, (11.97,8.67)))
x2_cm_casc__cc3.add(gdstk.Reference(nfet_01v8_w1p4_l0p6_m36_, (10.49,8.67)))
x2_cm_casc__cc3.add(gdstk.Reference(nfet_01v8_w1p4_l0p6_m36_, (9.01,8.67)))
x2_cm_casc__cc3.add(gdstk.Reference(nfet_01v8_w1p4_l0p6_m36_, (7.53,8.67)))
x2_cm_casc__cc3.add(gdstk.Reference(nfet_01v8_w1p4_l0p6_m36_, (6.05,8.67)))
x2_cm_casc__cc3.add(gdstk.Reference(nfet_01v8_w1p4_l0p6_m36_, (4.57,8.67)))
x2_cm_casc__cc3.add(gdstk.Reference(nfet_01v8_w1p4_l0p6_m36_, (3.09,8.67)))
x2_cm_casc__cc3.add(gdstk.Reference(nfet_01v8_w1p4_l0p6_m36_, (39.06,0), rotation=pi, x_reflection=True))
x2_cm_casc__cc3.add(gdstk.Reference(nfet_01v8_w1p4_l0p6_m36_, (37.58,0), rotation=pi, x_reflection=True))
x2_cm_casc__cc3.add(gdstk.Reference(nfet_01v8_w1p4_l0p6_m36_, (36.1,0), rotation=pi, x_reflection=True))
x2_cm_casc__cc3.add(gdstk.Reference(nfet_01v8_w1p4_l0p6_m36_, (34.62,0), rotation=pi, x_reflection=True))
x2_cm_casc__cc3.add(gdstk.Reference(nfet_01v8_w1p4_l0p6_m36_, (33.14,0), rotation=pi, x_reflection=True))
x2_cm_casc__cc3.add(gdstk.Reference(nfet_01v8_w1p4_l0p6_m36_, (31.66,0), rotation=pi, x_reflection=True))
x2_cm_casc__cc3.add(gdstk.Reference(nfet_01v8_w1p4_l0p6_m36_, (30.18,0), rotation=pi, x_reflection=True))
x2_cm_casc__cc3.add(gdstk.Reference(nfet_01v8_w1p4_l0p6_m36_, (27.95,0), rotation=pi, x_reflection=True))
x2_cm_casc__cc3.add(gdstk.Reference(nfet_01v8_w1p4_l0p6_m36_, (26.47,0), rotation=pi, x_reflection=True))
x2_cm_casc__cc3.add(gdstk.Reference(nfet_01v8_w1p4_l0p6_m36_, (24.99,0), rotation=pi, x_reflection=True))
x2_cm_casc__cc3.add(gdstk.Reference(nfet_01v8_w1p4_l0p6_m36_, (23.51,0), rotation=pi, x_reflection=True))
x2_cm_casc__cc3.add(gdstk.Reference(nfet_01v8_w1p4_l0p6_m36_, (22.03,0), rotation=pi, x_reflection=True))
x2_cm_casc__cc3.add(gdstk.Reference(nfet_01v8_w1p4_l0p6_m36_, (19.37,0)))
x2_cm_casc__cc3.add(gdstk.Reference(nfet_01v8_w1p4_l0p6_m36_, (17.89,0)))
x2_cm_casc__cc3.add(gdstk.Reference(nfet_01v8_w1p4_l0p6_m36_, (16.41,0)))
x2_cm_casc__cc3.add(gdstk.Reference(nfet_01v8_w1p4_l0p6_m36_, (14.93,0)))
x2_cm_casc__cc3.add(gdstk.Reference(nfet_01v8_w1p4_l0p6_m36_, (13.45,0)))
x2_cm_casc__cc3.add(gdstk.Reference(nfet_01v8_w1p4_l0p6_m36_, (11.97,0)))
x2_cm_casc__cc3.add(gdstk.Reference(nfet_01v8_w1p4_l0p6_m36_, (10.49,0)))
x2_cm_casc__cc3.add(gdstk.Reference(nfet_01v8_w1p4_l0p6_m36_, (9.01,0)))
x2_cm_casc__cc3.add(gdstk.Reference(nfet_01v8_w1p4_l0p6_m36_, (7.53,0)))
x2_cm_casc__cc3.add(gdstk.Reference(nfet_01v8_w1p4_l0p6_m36_, (6.05,0)))
x2_cm_casc__cc3.add(gdstk.Reference(nfet_01v8_w1p4_l0p6_m36_, (4.57,0)))
x2_cm_casc__cc3.add(gdstk.Reference(nfet_01v8_w1p4_l0p6_m36_, (3.09,0)))
x2_cm_casc__cc3.add(gdstk.Label('VSS', (-0.25,20.21), layer=70, texttype=5))
x2_cm_casc__cc3.add(gdstk.Label('bias_d', (-0.25,20.96), layer=70, texttype=5))
x2_cm_casc__cc3.add(gdstk.Label('op', (-0.25,-0.55), layer=70, texttype=5))
x2_cm_casc__cc3.add(gdstk.Label('on', (-0.25,-1.3), layer=70, texttype=5))
x2_cm_casc__cc3.add(gdstk.Label('VSS', (-0.25,-2.05), layer=70, texttype=5))
x2_cm_casc__cc3.add(gdstk.Label('x2_m3d', (-0.25,-2.8), layer=70, texttype=5))
x2_cm_casc__cc3.add(gdstk.Label('x2_m4d', (-0.25,-3.55), layer=70, texttype=5))
x2_cm_casc__cc3.add(gdstk.Label('VSS_body', (22.77,-4.35), layer=67, texttype=5))

lib.write_gds('x2_cm_casc__cc3.gds')
